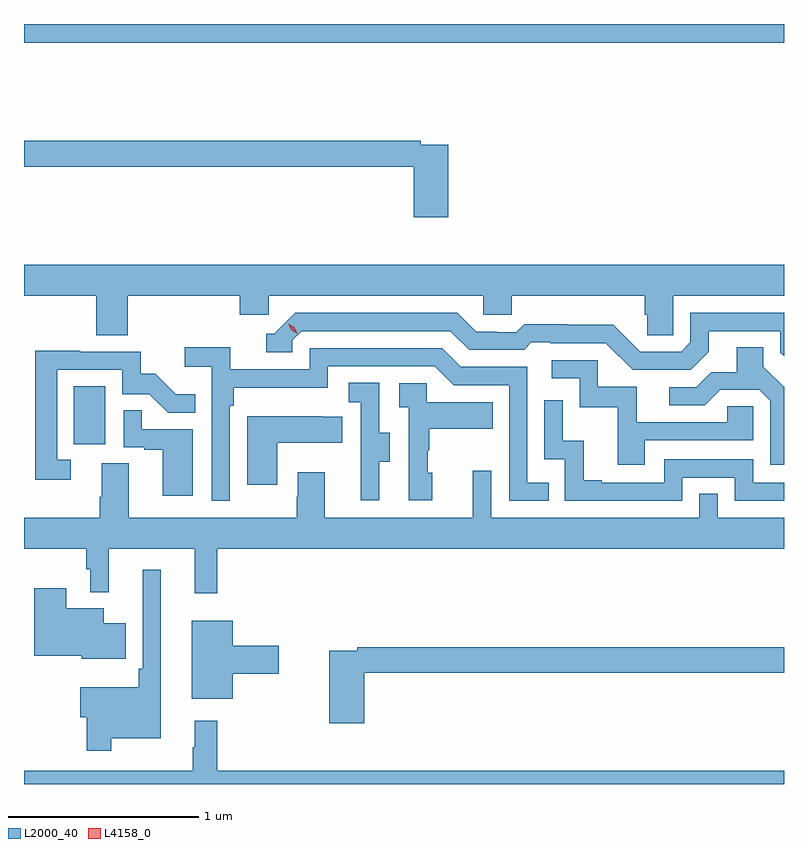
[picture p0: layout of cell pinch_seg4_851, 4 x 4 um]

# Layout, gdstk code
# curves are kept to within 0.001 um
import gdstk
lib = gdstk.Library(unit=1e-6, precision=1e-09)
def R(c, l, rs):  # rectangles x0, y0, x1, y1
    for r in rs: c.add(gdstk.rectangle(r[:2], r[2:], *l))
def P(c, l, *ps):  # polygons
    for p in ps: c.add(gdstk.Polygon(p, *l))
L2000_40 = (2000, 40)
L4158_0 = (4158, 0)

pinch_seg4_851 = lib.new_cell('pinch_seg4_851')
R(pinch_seg4_851, L2000_40, [(865.73,798.702,865.894,799.009), (865.467,800.816,869.467,800.915)])
P(pinch_seg4_851, L2000_40, [(867.701,800.28),(867.554,800.28),(867.554,800.3),(865.467,800.3),(865.467,800.164),(867.518,800.164),(867.518,799.899),(867.701,799.899)],
  [(866.012,799.484),(866.603,799.484),(866.603,799.386),(866.754,799.386),(866.754,799.484),(867.885,799.484),(867.885,799.386),(868.035,799.386),(868.035,799.484),(868.733,799.484),(868.733,799.386),(868.747,799.386),(868.747,799.276),(868.884,799.276),(868.884,799.484),(869.467,799.484),(869.467,799.648),(865.467,799.648),(865.467,799.484),(865.847,799.484),(865.847,799.276),(866.012,799.276)],
  [(869.071,799.189),(869.071,799.299),(869.448,799.299),(869.448,799.185),(869.467,799.166),(869.467,799.395),(868.974,799.395),(868.974,799.239),(868.926,799.191),(868.71,799.191),(868.568,799.333),(868.332,799.333),(868.332,799.336),(868.099,799.336),(868.057,799.293),(867.954,799.293),(867.954,799.296),(867.847,799.296),(867.748,799.395),(866.895,799.395),(866.784,799.284),(866.741,799.284),(866.741,799.188),(866.88,799.188),(866.88,799.251),(866.928,799.299),(867.711,799.299),(867.81,799.2),(868.099,799.2),(868.138,799.239),(868.237,799.239),(868.237,799.236),(868.53,799.236),(868.671,799.095),(868.977,799.095)],
  [(869.467,799.005),(869.359,799.112),(869.359,799.214),(869.219,799.214),(869.219,799.082),(869.084,799.082),(869.004,799.002),(868.863,799.002),(868.863,798.909),(869.05,798.909),(869.131,798.99),(869.337,798.99),(869.394,798.933),(869.394,798.594),(869.467,798.594)],
  [(866.55,798.905),(866.57,798.905),(866.57,799.001),(867.066,799.001),(867.066,799.113),(867.63,799.113),(867.729,799.014),(868.02,799.014),(868.02,798.405),(868.229,798.405),(868.229,798.501),(868.116,798.501),(868.116,799.11),(867.766,799.11),(867.667,799.209),(866.97,799.209),(866.97,799.098),(866.552,799.098),(866.552,799.214),(866.313,799.214),(866.313,799.112),(866.454,799.112),(866.454,798.405),(866.55,798.405)],
  [(865.714,798.621),(865.641,798.621),(865.641,799.095),(865.983,799.095),(865.983,798.966),(866.127,798.966),(866.225,798.868),(866.369,798.868),(866.369,798.967),(866.265,798.967),(866.158,799.074),(866.082,799.074),(866.082,799.191),(865.763,799.191),(865.763,799.196),(865.525,799.196),(865.525,798.516),(865.714,798.516)],
  [(868.735,798.723),(869.304,798.723),(869.304,798.903),(869.167,798.903),(869.167,798.819),(868.693,798.819),(868.693,799.005),(868.488,799.005),(868.488,799.146),(868.245,799.146),(868.245,799.05),(868.392,799.05),(868.392,798.897),(868.591,798.897),(868.591,798.594),(868.735,798.594)],
  [(867.337,798.61),(867.391,798.61),(867.391,798.765),(867.336,798.765),(867.336,799.028),(867.177,799.028),(867.177,798.925),(867.24,798.925),(867.24,798.621),(867.239,798.621),(867.239,798.408),(867.337,798.408)],
  [(867.616,798.552),(867.591,798.552),(867.591,798.671),(867.601,798.671),(867.601,798.785),(867.935,798.785),(867.935,798.925),(867.588,798.925),(867.588,799.023),(867.441,799.023),(867.441,798.899),(867.492,798.899),(867.492,798.408),(867.616,798.408)],
  [(868.932,798.528),(869.208,798.528),(869.208,798.405),(869.467,798.405),(869.467,798.501),(869.304,798.501),(869.304,798.624),(868.836,798.624),(868.836,798.501),(868.507,798.501),(868.507,798.514),(868.412,798.514),(868.412,798.722),(868.302,798.722),(868.302,798.934),(868.206,798.934),(868.206,798.624),(868.314,798.624),(868.314,798.405),(868.932,798.405)],
  [(866.356,798.783),(866.087,798.783),(866.087,798.881),(865.992,798.881),(865.992,798.687),(866.099,798.687),(866.099,798.675),(866.198,798.675),(866.198,798.432),(866.356,798.432)],
  [(866.8,798.71),(867.143,798.71),(867.143,798.847),(867.035,798.847),(867.035,798.85),(866.642,798.85),(866.642,798.489),(866.8,798.489)],
  [(866.483,798.152),(869.467,798.152),(869.467,798.316),(869.118,798.316),(869.118,798.443),(869.022,798.443),(869.022,798.316),(867.927,798.316),(867.927,798.565),(867.83,798.565),(867.83,798.316),(867.049,798.316),(867.049,798.556),(866.909,798.556),(866.909,798.428),(866.902,798.428),(866.902,798.316),(866.017,798.316),(866.017,798.602),(865.877,798.602),(865.877,798.428),(865.865,798.428),(865.865,798.316),(865.467,798.316),(865.467,798.152),(865.795,798.152),(865.795,798.045),(865.815,798.045),(865.815,797.924),(865.913,797.924),(865.913,798.152),(866.366,798.152),(866.366,797.919),(866.483,797.919)],
  [(865.927,797.156),(866.188,797.156),(866.188,798.043),(866.091,798.043),(866.091,797.521),(866.071,797.521),(866.071,797.425),(865.764,797.425),(865.764,797.267),(865.798,797.267),(865.798,797.091),(865.927,797.091)],
  [(866.002,797.761),(865.888,797.761),(865.888,797.839),(865.69,797.839),(865.69,797.944),(865.52,797.944),(865.52,797.591),(865.77,797.591),(865.77,797.573),(866.002,797.573)],
  [(866.566,797.495),(866.809,797.495),(866.809,797.642),(866.566,797.642),(866.566,797.773),(866.351,797.773),(866.351,797.363),(866.566,797.363)],
  [(867.257,797.5),(869.467,797.5),(869.467,797.636),(867.22,797.636),(867.22,797.616),(867.074,797.616),(867.074,797.235),(867.257,797.235)],
  [(869.467,796.984),(866.483,796.984),(866.483,797.248),(866.366,797.248),(866.366,797.108),(866.355,797.108),(866.355,796.984),(865.467,796.984),(865.467,796.915),(869.467,796.915)])
P(pinch_seg4_851, L4158_0, [(866.905,799.286),(866.874,799.305),(866.858,799.338),(866.858,799.338),(866.858,799.338),(866.889,799.319),(866.906,799.286),(866.906,799.286)])

lib.write_gds('pinch_seg4_851.gds')
